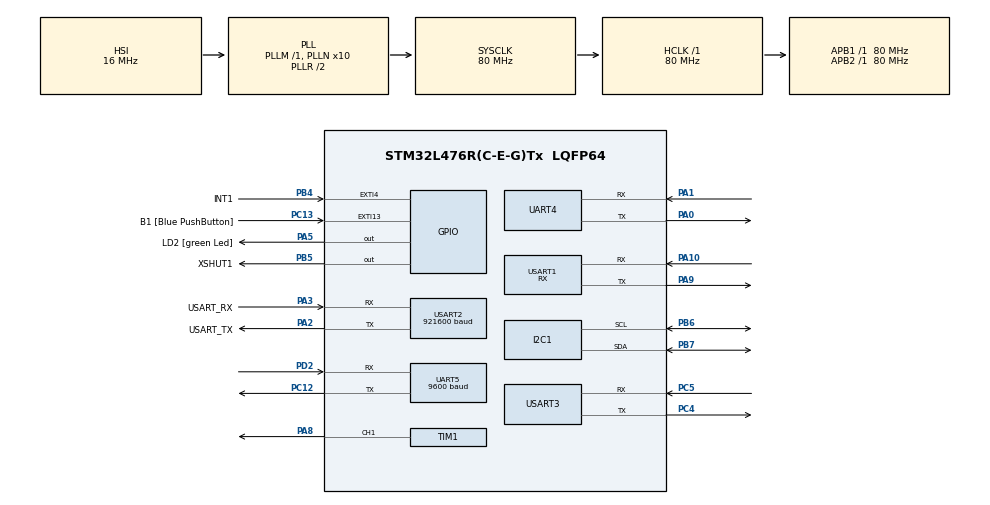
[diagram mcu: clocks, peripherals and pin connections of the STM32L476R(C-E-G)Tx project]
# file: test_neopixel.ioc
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Dma.Request0=UART4_TX
Dma.Request1=USART3_TX
Dma.UART4_TX.0.Direction=DMA_MEMORY_TO_PERIPH
Dma.UART4_TX.0.Instance=DMA2_Channel3
Dma.UART4_TX.0.MemDataAlignment=DMA_MDATAALIGN_BYTE
Dma.UART4_TX.0.MemInc=DMA_MINC_ENABLE
Dma.UART4_TX.0.Mode=DMA_NORMAL
Dma.UART4_TX.0.PeriphDataAlignment=DMA_PDATAALIGN_BYTE
Dma.UART4_TX.0.PeriphInc=DMA_PINC_DISABLE
Dma.UART4_TX.0.Priority=DMA_PRIORITY_LOW
Dma.USART3_TX.1.Direction=DMA_MEMORY_TO_PERIPH
Dma.USART3_TX.1.Instance=DMA1_Channel2
Dma.USART3_TX.1.MemDataAlignment=DMA_MDATAALIGN_BYTE
Dma.USART3_TX.1.MemInc=DMA_MINC_ENABLE
Dma.USART3_TX.1.Mode=DMA_NORMAL
Dma.USART3_TX.1.PeriphDataAlignment=DMA_PDATAALIGN_BYTE
Dma.USART3_TX.1.PeriphInc=DMA_PINC_DISABLE
Dma.USART3_TX.1.Priority=DMA_PRIORITY_LOW
FREERTOS.Tasks01=defaultTask,0,128,StartDefaultTask,Default,NULL,Dynamic,NULL,NULL
I2C1.Timing=0x10D19CE4
Mcu.Family=STM32L4
Mcu.Name=STM32L476R(C-E-G)Tx
Mcu.Package=LQFP64
NVIC.DMA1_Channel2_IRQn=true\:5\:0\:false\:false\:true\:true\:false\:true\:true
NVIC.DMA2_Channel3_IRQn=true\:5\:0\:false\:false\:true\:true\:false\:true\:true
NVIC.EXTI4_IRQn=true\:5\:0\:false\:false\:true\:true\:true\:true\:true
NVIC.PriorityGroup=NVIC_PRIORITYGROUP_4
NVIC.USART1_IRQn=true\:5\:0\:false\:false\:true\:true\:true\:true\:true
NVIC.USART3_IRQn=true\:5\:0\:false\:false\:true\:true\:true\:true\:true
PA0.Mode=Asynchronous
PA0.Signal=UART4_TX
PA1.Mode=Asynchronous
PA1.Signal=UART4_RX
PA10.Mode=Asynchronous
PA10.Signal=USART1_RX
PA13\ (JTMS-SWDIO).GPIO_Label=TMS
PA13\ (JTMS-SWDIO).Mode=Serial_Wire
PA13\ (JTMS-SWDIO).Signal=SYS_JTMS-SWDIO
PA14\ (JTCK-SWCLK).GPIO_Label=TCK
PA14\ (JTCK-SWCLK).Mode=Serial_Wire
PA14\ (JTCK-SWCLK).Signal=SYS_JTCK-SWCLK
PA2.GPIO_Label=USART_TX
PA2.GPIO_Mode=GPIO_MODE_AF_PP
PA2.GPIO_PuPd=GPIO_NOPULL
PA2.GPIO_Speed=GPIO_SPEED_FREQ_VERY_HIGH
PA2.Mode=Asynchronous
PA2.Signal=USART2_TX
PA3.GPIO_Label=USART_RX
PA3.GPIO_Mode=GPIO_MODE_AF_PP
PA3.GPIO_PuPd=GPIO_NOPULL
PA3.GPIO_Speed=GPIO_SPEED_FREQ_VERY_HIGH
PA3.Mode=Asynchronous
PA3.Signal=USART2_RX
PA5.GPIO_Label=LD2 [green Led]
PA5.GPIO_ModeDefaultOutputPP=GPIO_MODE_OUTPUT_PP
PA5.GPIO_PuPd=GPIO_NOPULL
PA5.GPIO_Speed=GPIO_SPEED_FREQ_LOW
PA5.Signal=GPIO_Output
PA8.Signal=S_TIM1_CH1
PA9.Mode=Asynchronous
PA9.Signal=USART1_TX
PB3\ (JTDO-TRACESWO).GPIO_Label=SWO
PB3\ (JTDO-TRACESWO).Signal=SYS_JTDO-SWO
PB4\ (NJTRST).GPIO_Label=INT1
PB4\ (NJTRST).Signal=GPXTI4
PB5.GPIO_Label=XSHUT1
PB5.Signal=GPIO_Output
PB6.Mode=I2C
PB6.Signal=I2C1_SCL
PB7.Mode=I2C
PB7.Signal=I2C1_SDA
PC12.Mode=Asynchronous
PC12.Signal=UART5_TX
PC13.GPIO_Label=B1 [Blue PushButton]
PC13.GPIO_ModeDefaultEXTI=GPIO_MODE_IT_FALLING
PC13.GPIO_PuPd=GPIO_NOPULL
PC13.Signal=GPXTI13
PC14-OSC32_IN\ (PC14).Mode=LSE-External-Oscillator
PC14-OSC32_IN\ (PC14).Signal=RCC_OSC32_IN
PC15-OSC32_OUT\ (PC15).Mode=LSE-External-Oscillator
PC15-OSC32_OUT\ (PC15).Signal=RCC_OSC32_OUT
PC4.Mode=Asynchronous
PC4.Signal=USART3_TX
PC5.Mode=Asynchronous
PC5.Signal=USART3_RX
PD2.Mode=Asynchronous
PD2.Signal=UART5_RX
PH0-OSC_IN\ (PH0).Signal=RCC_OSC_IN
PH1-OSC_OUT\ (PH1).Signal=RCC_OSC_OUT
ProjectManager.HeapSize=0x200
ProjectManager.StackSize=0x400
ProjectManager.TargetToolchain=STM32CubeIDE
RCC.ADCFreq_Value=64000000
RCC.AHBFreq_Value=80000000
RCC.APB1Freq_Value=80000000
RCC.APB1TimFreq_Value=80000000
RCC.APB2Freq_Value=80000000
RCC.APB2TimFreq_Value=80000000
RCC.CortexFreq_Value=80000000
RCC.HCLKFreq_Value=80000000
RCC.HSE_VALUE=8000000
RCC.HSI_VALUE=16000000
RCC.MSI_VALUE=4000000
RCC.PLLN=10
RCC.PLLSAI1Q=RCC_PLLQ_DIV4
RCC.PLLSourceVirtual=RCC_PLLSOURCE_HSI
RCC.PREFETCH_ENABLE=1
RCC.SYSCLKFreq_VALUE=80000000
RCC.SYSCLKSource=RCC_SYSCLKSOURCE_PLLCLK
RCC.USBFreq_Value=32000000
RCC.VCOOutputFreq_Value=160000000
SH.S_TIM1_CH1.0=TIM1_CH1,PWM Generation1 CH1
TIM1.Channel-PWM\ Generation1\ CH1=TIM_CHANNEL_1
TIM1.Period=100-1
UART5.BaudRate=9600
USART1.Mode=MODE_RX
USART1.VirtualMode-Asynchronous=VM_ASYNC
USART2.BaudRate=921600
USART2.VirtualMode-Asynchronous=VM_ASYNC
USART3.VirtualMode-Asynchronous=VM_ASYNC
VP_FREERTOS_VS_CMSIS_V1.Mode=CMSIS_V1
VP_RNG_VS_RNG.Mode=RNG_Activate
VP_TIM1_VS_ClockSourceINT.Mode=Internal
board=NUCLEO-L476RG

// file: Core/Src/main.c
/* USER CODE BEGIN Header */
/**
 ******************************************************************************
 * @file           : main.c
 * @brief          : Main program body
 ******************************************************************************
 * @attention
 *
 * Copyright (c) 2025 STMicroelectronics.
 * All rights reserved.
 *
 * This software is licensed under terms that can be found in the LICENSE file
 * in the root directory of this software component.
 * If no LICENSE file comes with this software, it is provided AS-IS.
 *
 ******************************************************************************
 */
/* USER CODE END Header */
#include "main.h"
#include "cmsis_os.h"
#include "dma.h"
#include "i2c.h"
#include "rng.h"
#include "tim.h"
#include "usart.h"
#include "gpio.h"

/* USER CODE BEGIN Includes */
#include <stdio.h>
#include "brillez.h"
#include "tof.h"
#include "lidar.h"
#include "mp3.h"
#include "rasbpi.h"
#include <string.h>
/* USER CODE END Includes */

/* USER CODE BEGIN PV */
//static char str[RASBPI_MSG_LENGTH];
uint8_t lidar_buffer[UART_RX_BUFFER_SIZE];
uint8_t UART1_RxBuffer[UART_RX_BUFFER_SIZE];
char uart_json[512];
uint16_t taille = 0;
int lidar_flag = 0;
int raspi_flag_TX = 1;
uint8_t UART3_RxBuffer[512];

/* USER CODE END PV */

void SystemClock_Config(void);
void MX_FREERTOS_Init(void);

/* USER CODE BEGIN 0 */

int __io_putchar(int chr)
{
	HAL_UART_Transmit(&huart2, (uint8_t*) &chr, 1, HAL_MAX_DELAY);
	return chr;
}

void HAL_GPIO_EXTI_Callback(uint16_t GPIO_Pin){
	tof_callback(INT1_Pin);
}

void HAL_UARTEx_RxEventCallback(UART_HandleTypeDef *huart, uint16_t Size)
{
	if (huart->Instance == USART1) {
		HAL_GPIO_TogglePin(LD2_GPIO_Port, LD2_Pin);

		taille = Size;
		lidar_flag = 1;
		for (int i = 0; i<Size; i++)
			lidar_buffer[i] = UART1_RxBuffer[i];

		HAL_UARTEx_ReceiveToIdle_IT(&huart1, UART1_RxBuffer, UART_RX_BUFFER_SIZE);
	}

	//	if (huart->Instance == USART3)
	//	{
	//		UART3_RxBuffer[Size] = '\0';
	//		printf("Received on USART3: %s\r\n", UART3_RxBuffer);
	//		HAL_UARTEx_ReceiveToIdle_IT(&huart3, UART3_RxBuffer, sizeof(UART3_RxBuffer));
	//	}

}

void HAL_UART_TxCpltCallback(UART_HandleTypeDef *huart)
{
	if (huart->Instance == USART3) {
		raspi_flag_TX = 1;

	}
}

/* USER CODE END 0 */

int main(void)
{

  /* MCU Configuration--------------------------------------------------------*/

  /* Reset of all peripherals, Initializes the Flash interface and the Systick. */
  HAL_Init();

  /* Configure the system clock */
  SystemClock_Config();

  /* Initialize all configured peripherals */
  MX_GPIO_Init();
  MX_DMA_Init();
  MX_USART2_UART_Init();
  MX_TIM1_Init();
  MX_RNG_Init();
  MX_I2C1_Init();
  MX_UART4_Init();
  MX_USART1_UART_Init();
  MX_UART5_Init();
  MX_USART3_UART_Init();
  /* USER CODE BEGIN 2 */

	HAL_NVIC_DisableIRQ(EXTI4_IRQn);

	printf("\r\n==== PROJET ESE ROBOT CHAT TEST RASBPI ====\r\n");

	HAL_UARTEx_ReceiveToIdle_IT(&huart3, UART3_RxBuffer, sizeof(UART3_RxBuffer));
	//	tof_boot();
	//	tof_initialization();
	//	tof_enable_ranging();
	//	tof_interrupt_frequency_all(5); //in Hz
	//	all_off();

	build_json();
	printf("JSON: %s\r\n", uart_json);
	HAL_UART_Transmit_DMA(&huart3, (uint8_t*)uart_json, strlen(uart_json));
	//	HAL_UARTEx_ReceiveToIdle_IT(&huart1, UART1_RxBuffer, UART_RX_BUFFER_SIZE);

	//  brillez_init();
	/* ticks 80MHz
	 * T0H 400ns 32
	 * T1H 800ns 64
	 * T0L 850ns 68
	 * T1L 450ns 36
	 * RES 50000ns 4000
	 *
	 * Send 0 : 32 + 68 = 100
	 * Send 1 : 64 + 36 = 100
	 *
	 * Green : 0x0000FF
	 * Red :   0x00FF00
	 * Blue :  0xFF0000
	 */
  /* USER CODE END 2 */

  /* Call init function for freertos objects (in cmsis_os2.c) */
  MX_FREERTOS_Init();

  /* Start scheduler */
  osKernelStart();

  /* We should never get here as control is now taken by the scheduler */

  /* Infinite loop */
  /* USER CODE BEGIN WHILE */
	HAL_NVIC_EnableIRQ(EXTI4_IRQn);

	//	uint32_t last_send_time = 0;

	while (1)
	{
		//	    uint32_t now = HAL_GetTick();
		//
		//	    if ((now - last_send_time) >= 5000)
		//	    {
		//	        last_send_time = now;
		//
		//	        if (raspi_flag_TX == 1)
		//	        {
		//	            raspi_flag_TX = 0;
		//	            build_json();
		//	            printf("JSON: %s\r\n", uart_json);
		//	            HAL_UART_Transmit_DMA(&huart3, (uint8_t*)uart_json, strlen(uart_json));
		//	        }
		//	    }

		////////////////////////////////////////////////////////////////
		//		printf("test");
		//		mp3_selectStorageDevice();
		//		printf("test1");
		//
		//		HAL_Delay(20);
		//		printf("test2");
		//
		//		mp3_setVolume(100);
		//		printf("test3");
		//
		//		HAL_Delay(20);
		//		printf("test4");
		//
		//		mp3_playWithIndex(0);
		//		printf("test5");
		//		HAL_Delay(30000);
		//		mp3_stopPlay();
		///////////////////////////////////////////////////////////////
		//		if (lidar_flag == 1)
		//		{
		//			lidar_check_frames();
		//			lidar_checksum_test();
		//			lidar_get_angle_and_distance();
		//			lidar_flag = 0;
		//
		//		}

		//		tof_print_distance();
		//
		//		if (tof_is_above_threshold(400)== 1){
		//			all_off();
		//			}
		//		if(tof_is_between(200, 400) == 1){ //mm
		//			one_on(57, 0x00FF00);
		//		}
		//
		//		if(tof_is_between(100, 200) == 1){ //mm
		//			one_on(57, 0xFF0000);
		//		}
		//		if(tof_is_between(0, 100) == 1){ //mm
		//			one_on(57, 0x0000FF);
		//		}
		///////////////////////////////////////////////////////////////
    /* USER CODE END WHILE */

	}
}

void SystemClock_Config(void)
{
  RCC_OscInitTypeDef RCC_OscInitStruct = {0};
  RCC_ClkInitTypeDef RCC_ClkInitStruct = {0};

  /** Configure the main internal regulator output voltage
  */
  if (HAL_PWREx_ControlVoltageScaling(PWR_REGULATOR_VOLTAGE_SCALE1) != HAL_OK)
  {
    Error_Handler();
  }

  /** Initializes the RCC Oscillators according to the specified parameters
  * in the RCC_OscInitTypeDef structure.
  */
  RCC_OscInitStruct.OscillatorType = RCC_OSCILLATORTYPE_HSI;
  RCC_OscInitStruct.HSIState = RCC_HSI_ON;
  RCC_OscInitStruct.HSICalibrationValue = RCC_HSICALIBRATION_DEFAULT;
  RCC_OscInitStruct.PLL.PLLState = RCC_PLL_ON;
  RCC_OscInitStruct.PLL.PLLSource = RCC_PLLSOURCE_HSI;
  RCC_OscInitStruct.PLL.PLLM = 1;
  RCC_OscInitStruct.PLL.PLLN = 10;
  RCC_OscInitStruct.PLL.PLLP = RCC_PLLP_DIV7;
  RCC_OscInitStruct.PLL.PLLQ = RCC_PLLQ_DIV2;
  RCC_OscInitStruct.PLL.PLLR = RCC_PLLR_DIV2;
  if (HAL_RCC_OscConfig(&RCC_OscInitStruct) != HAL_OK)
  {
    Error_Handler();
  }

  /** Initializes the CPU, AHB and APB buses clocks
  */
  RCC_ClkInitStruct.ClockType = RCC_CLOCKTYPE_HCLK|RCC_CLOCKTYPE_SYSCLK
                              |RCC_CLOCKTYPE_PCLK1|RCC_CLOCKTYPE_PCLK2;
  RCC_ClkInitStruct.SYSCLKSource = RCC_SYSCLKSOURCE_PLLCLK;
  RCC_ClkInitStruct.AHBCLKDivider = RCC_SYSCLK_DIV1;
  RCC_ClkInitStruct.APB1CLKDivider = RCC_HCLK_DIV1;
  RCC_ClkInitStruct.APB2CLKDivider = RCC_HCLK_DIV1;

  if (HAL_RCC_ClockConfig(&RCC_ClkInitStruct, FLASH_LATENCY_4) != HAL_OK)
  {
    Error_Handler();
  }
}

void Error_Handler(void)
{
	__disable_irq();
	while (1)
	{
	}
}
